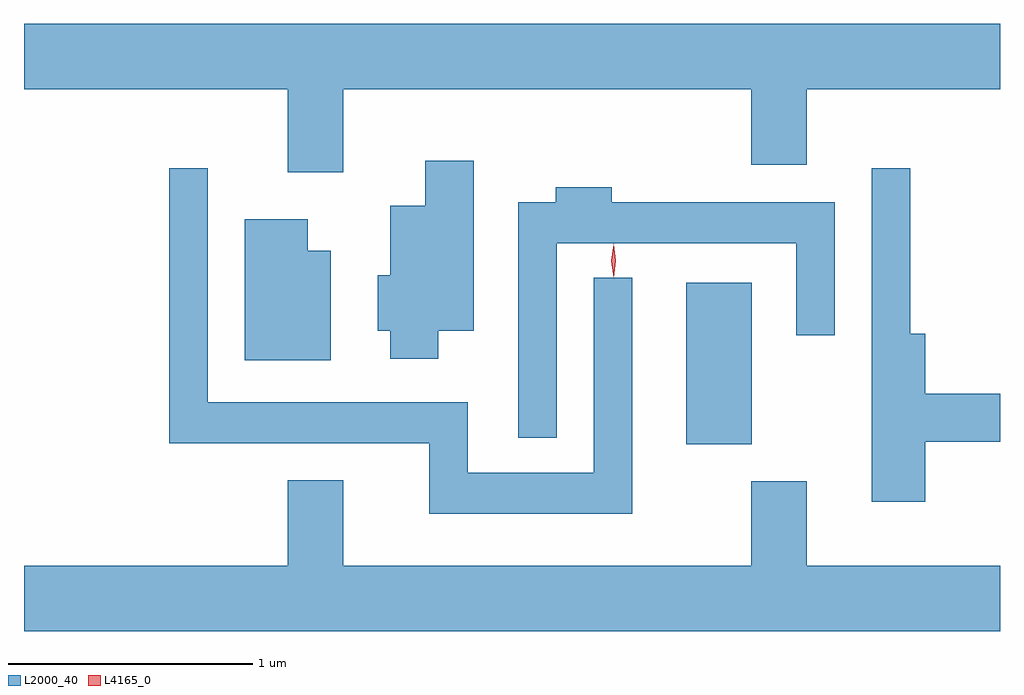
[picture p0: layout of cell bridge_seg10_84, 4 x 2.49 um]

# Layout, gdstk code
import gdstk
lib = gdstk.Library(unit=1e-6, precision=1e-09)
def R(c, l, rs):  # rectangles x0, y0, x1, y1
    for r in rs: c.add(gdstk.rectangle(r[:2], r[2:], *l))
def P(c, l, *ps):  # polygons
    for p in ps: c.add(gdstk.Polygon(p, *l))
L2000_40 = (2000, 40)
L4165_0 = (4165, 0)

bridge_seg10_84 = lib.new_cell('bridge_seg10_84')
R(bridge_seg10_84, L2000_40, [(1585.736,2190.161,1586.004,2190.824)])
P(bridge_seg10_84, L2000_40, [(1584.329,2191.616),(1586.001,2191.616),(1586.001,2191.306),(1586.229,2191.306),(1586.229,2191.616),(1587.021,2191.616),(1587.021,2191.884),(1583.021,2191.884),(1583.021,2191.616),(1584.101,2191.616),(1584.101,2191.276),(1584.329,2191.276)],
  [(1584.719,2190.626),(1584.864,2190.626),(1584.864,2191.324),(1584.666,2191.324),(1584.666,2191.139),(1584.521,2191.139),(1584.521,2190.854),(1584.471,2190.854),(1584.471,2190.626),(1584.521,2190.626),(1584.521,2190.511),(1584.719,2190.511)],
  [(1585.514,2190.843),(1585.356,2190.843),(1585.356,2190.044),(1584.839,2190.044),(1584.839,2190.334),(1583.774,2190.334),(1583.774,2191.293),(1583.616,2191.293),(1583.616,2190.166),(1584.681,2190.166),(1584.681,2189.876),(1585.514,2189.876)],
  [(1586.714,2190.171),(1587.021,2190.171),(1587.021,2190.369),(1586.714,2190.369),(1586.714,2190.614),(1586.654,2190.614),(1586.654,2191.293),(1586.496,2191.293),(1586.496,2189.926),(1586.714,2189.926)],
  [(1585.204,2190.986),(1586.186,2190.986),(1586.186,2190.608),(1586.344,2190.608),(1586.344,2191.154),(1585.429,2191.154),(1585.429,2191.214),(1585.201,2191.214),(1585.201,2191.154),(1585.046,2191.154),(1585.046,2190.188),(1585.204,2190.188)],
  [(1584.279,2190.954),(1584.184,2190.954),(1584.184,2191.084),(1583.926,2191.084),(1583.926,2190.506),(1584.279,2190.506)],
  [(1587.021,2189.664),(1586.229,2189.664),(1586.229,2190.009),(1586.001,2190.009),(1586.001,2189.664),(1584.329,2189.664),(1584.329,2190.014),(1584.101,2190.014),(1584.101,2189.664),(1583.021,2189.664),(1583.021,2189.396),(1587.021,2189.396)])
P(bridge_seg10_84, L4165_0, [(1585.437,2190.843),(1585.437,2190.844),(1585.427,2190.913),(1585.437,2190.982),(1585.437,2190.983),(1585.438,2190.982),(1585.447,2190.913),(1585.438,2190.844)])

lib.write_gds('bridge_seg10_84.gds')
